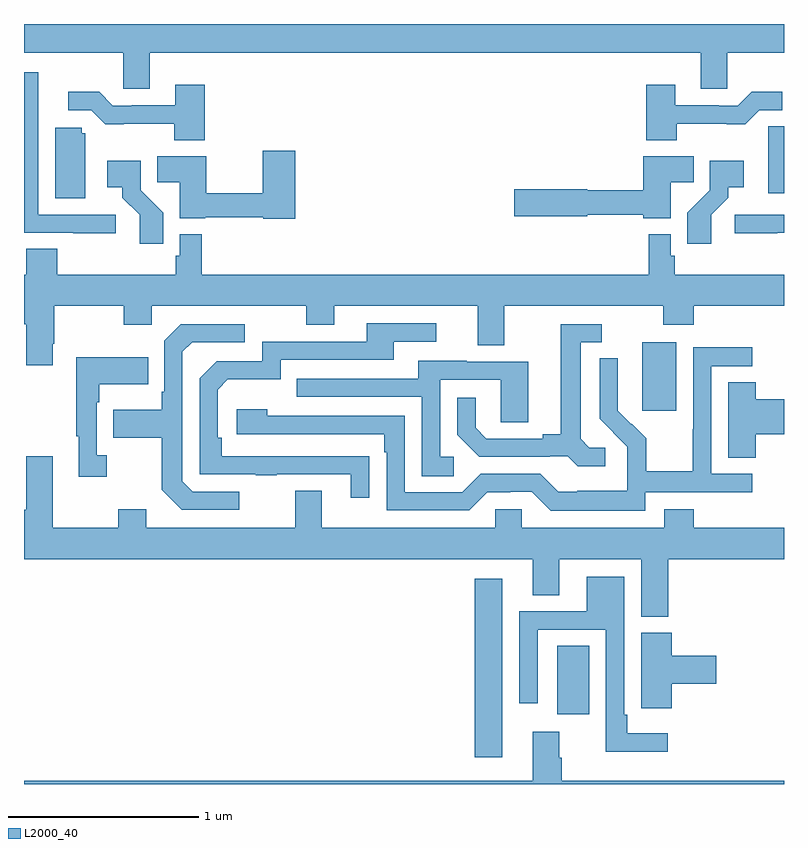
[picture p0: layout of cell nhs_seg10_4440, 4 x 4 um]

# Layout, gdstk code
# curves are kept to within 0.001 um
import gdstk
lib = gdstk.Library(unit=1e-6, precision=1e-09)
def R(c, l, rs):  # rectangles x0, y0, x1, y1
    for r in rs: c.add(gdstk.rectangle(r[:2], r[2:], *l))
def P(c, l, *ps):  # polygons
    for p in ps: c.add(gdstk.Polygon(p, *l))
L2000_40 = (2000, 40)

nhs_seg10_4440 = lib.new_cell('nhs_seg10_4440')
R(nhs_seg10_4440, L2000_40, [(365.372,1264.641,365.518,1265.581), (365.807,1264.866,365.974,1265.228), (366.254,1266.465,366.433,1266.826)])
P(nhs_seg10_4440, L2000_40, [(363.661,1268.348),(366.563,1268.348),(366.563,1268.158),(366.702,1268.158),(366.702,1268.348),(367,1268.348),(367,1268.5),(363,1268.5),(363,1268.348),(363.522,1268.348),(363.522,1268.158),(363.661,1268.158)],
  [(363.484,1267.497),(363.075,1267.497),(363.075,1268.022),(363.076,1268.022),(363.076,1268.245),(363,1268.245),(363,1267.401),(363.259,1267.401),(363.259,1267.399),(363.484,1267.399)],
  [(366.435,1267.974),(366.797,1267.973),(366.87,1268.046),(366.991,1268.046),(366.991,1268.143),(366.829,1268.143),(366.756,1268.07),(366.656,1268.07),(366.656,1268.073),(366.427,1268.073),(366.427,1268.179),(366.275,1268.179),(366.275,1267.889),(366.435,1267.889)],
  [(363.95,1268.179),(363.797,1268.179),(363.797,1268.073),(363.568,1268.073),(363.568,1268.07),(363.468,1268.07),(363.395,1268.143),(363.234,1268.143),(363.234,1268.046),(363.354,1268.046),(363.427,1267.973),(363.79,1267.974),(363.79,1267.889),(363.95,1267.889)],
  [(367,1267.961),(366.918,1267.961),(366.918,1267.85),(366.917,1267.85),(366.917,1267.608),(367,1267.608)],
  [(363.322,1267.926),(363.303,1267.926),(363.303,1267.953),(363.164,1267.953),(363.164,1267.582),(363.322,1267.582)],
  [(364.427,1267.834),(364.256,1267.834),(364.256,1267.61),(363.958,1267.61),(363.958,1267.804),(363.7,1267.804),(363.7,1267.666),(363.821,1267.666),(363.821,1267.478),(363.954,1267.478),(363.954,1267.482),(364.26,1267.482),(364.26,1267.474),(364.427,1267.474)],
  [(366.403,1267.666),(366.524,1267.666),(366.524,1267.804),(366.259,1267.804),(366.259,1267.625),(365.964,1267.625),(365.964,1267.631),(365.58,1267.631),(365.58,1267.489),(365.964,1267.489),(365.964,1267.497),(366.259,1267.497),(366.259,1267.478),(366.403,1267.478)],
  [(363.734,1267.506),(363.615,1267.625),(363.615,1267.78),(363.438,1267.78),(363.438,1267.64),(363.518,1267.64),(363.518,1267.585),(363.609,1267.495),(363.609,1267.344),(363.734,1267.344)],
  [(366.616,1267.495),(366.706,1267.585),(366.706,1267.64),(366.787,1267.64),(366.787,1267.78),(366.609,1267.78),(366.609,1267.625),(366.49,1267.506),(366.49,1267.344),(366.616,1267.344)],
  [(366.965,1267.401),(367,1267.401),(367,1267.497),(366.741,1267.497),(366.741,1267.399),(366.965,1267.399)],
  [(363.151,1266.817),(363.159,1266.817),(363.159,1267.016),(363.526,1267.016),(363.526,1266.917),(363.672,1266.917),(363.672,1267.016),(364.486,1267.016),(364.486,1266.917),(364.633,1266.917),(364.633,1267.016),(365.387,1267.016),(365.387,1266.808),(365.527,1266.808),(365.527,1267.016),(366.364,1267.016),(366.364,1266.917),(366.524,1266.917),(366.524,1267.016),(367,1267.016),(367,1267.18),(366.425,1267.18),(366.425,1267.281),(366.405,1267.281),(366.405,1267.393),(366.289,1267.393),(366.289,1267.18),(363.935,1267.18),(363.935,1267.393),(363.819,1267.393),(363.819,1267.281),(363.799,1267.281),(363.799,1267.18),(363.176,1267.18),(363.176,1267.316),(363.011,1267.316),(363.011,1267.18),(363,1267.18),(363,1266.92),(363.011,1266.92),(363.011,1266.705),(363.151,1266.705)],
  [(364.817,1266.224),(364.04,1266.225),(364.04,1266.322),(364.02,1266.322),(364.02,1266.576),(364.073,1266.629),(364.35,1266.629),(364.35,1266.732),(364.945,1266.732),(364.945,1266.828),(365.17,1266.828),(365.17,1266.924),(364.805,1266.924),(364.805,1266.828),(364.254,1266.828),(364.254,1266.726),(364.014,1266.726),(363.924,1266.636),(363.924,1266.129),(364.219,1266.129),(364.219,1266.124),(364.331,1266.124),(364.331,1266.129),(364.721,1266.129),(364.721,1266.006),(364.817,1266.006)],
  [(364.132,1266.039),(363.888,1266.039),(363.834,1266.093),(363.834,1266.774),(363.885,1266.825),(364.162,1266.825),(364.162,1266.921),(363.825,1266.921),(363.738,1266.834),(363.738,1266.565),(363.726,1266.565),(363.726,1266.469),(363.469,1266.469),(363.469,1266.322),(363.726,1266.322),(363.726,1266.049),(363.831,1265.943),(364.132,1265.943)],
  [(366.058,1266.27),(365.976,1266.27),(365.929,1266.317),(365.929,1266.825),(366.04,1266.825),(366.04,1266.921),(365.825,1266.921),(365.825,1266.341),(365.729,1266.341),(365.729,1266.318),(365.434,1266.318),(365.377,1266.375),(365.377,1266.532),(365.28,1266.532),(365.28,1266.338),(365.396,1266.222),(365.768,1266.222),(365.768,1266.225),(365.862,1266.225),(365.914,1266.173),(366.058,1266.173)],
  [(366.27,1266.036),(366.832,1266.036),(366.832,1266.132),(366.618,1266.132),(366.618,1266.699),(366.832,1266.699),(366.832,1266.798),(366.522,1266.798),(366.522,1266.368),(366.52,1266.368),(366.52,1266.145),(366.275,1266.145),(366.275,1266.319),(366.198,1266.396),(366.195,1266.393),(366.125,1266.464),(366.126,1266.74),(366.03,1266.74),(366.03,1266.422),(366.176,1266.274),(366.176,1266.177),(366.174,1266.177),(366.174,1266.043),(365.911,1266.043),(365.911,1266.039),(365.811,1266.039),(365.718,1266.132),(365.403,1266.132),(365.307,1266.036),(365.004,1266.036),(365.004,1266.438),(364.28,1266.438),(364.28,1266.472),(364.119,1266.472),(364.119,1266.342),(364.895,1266.342),(364.895,1266.245),(364.908,1266.245),(364.908,1265.94),(365.343,1265.94),(365.439,1266.036),(365.558,1266.036),(365.558,1266.039),(365.673,1266.039),(365.773,1265.939),(366.27,1265.939)],
  [(363.436,1266.23),(363.384,1266.23),(363.384,1266.509),(363.397,1266.509),(363.397,1266.605),(363.653,1266.605),(363.653,1266.745),(363.276,1266.745),(363.276,1266.329),(363.287,1266.329),(363.287,1266.117),(363.436,1266.117)],
  [(365.263,1266.222),(365.19,1266.222),(365.19,1266.627),(365.508,1266.627),(365.508,1266.403),(365.653,1266.403),(365.653,1266.723),(365.329,1266.723),(365.329,1266.727),(365.075,1266.727),(365.075,1266.633),(364.435,1266.633),(364.435,1266.537),(365.094,1266.537),(365.094,1266.121),(365.263,1266.121)],
  [(366.851,1266.341),(367,1266.341),(367,1266.524),(366.851,1266.524),(366.851,1266.614),(366.707,1266.614),(366.707,1266.217),(366.851,1266.217)],
  [(366.392,1265.684),(367,1265.684),(367,1265.848),(366.524,1265.848),(366.524,1265.947),(366.371,1265.947),(366.371,1265.848),(365.619,1265.848),(365.619,1265.946),(365.481,1265.946),(365.481,1265.848),(364.567,1265.848),(364.567,1266.043),(364.427,1266.043),(364.427,1265.848),(363.643,1265.848),(363.643,1265.947),(363.496,1265.947),(363.496,1265.848),(363.151,1265.848),(363.151,1266.226),(363.011,1266.226),(363.011,1265.944),(363,1265.944),(363,1265.684),(365.678,1265.684),(365.678,1265.494),(365.818,1265.494),(365.818,1265.684),(366.248,1265.684),(366.248,1265.38),(366.392,1265.38)],
  [(366.388,1264.768),(366.175,1264.768),(366.175,1264.864),(366.159,1264.864),(366.159,1265.59),(365.963,1265.59),(365.963,1265.409),(365.607,1265.409),(365.607,1264.926),(365.703,1264.926),(365.703,1265.313),(366.063,1265.313),(366.063,1264.67),(366.388,1264.67)],
  [(366.41,1265.027),(366.643,1265.027),(366.643,1265.174),(366.41,1265.174),(366.41,1265.295),(366.248,1265.295),(366.248,1265.011),(366.249,1265.011),(366.249,1264.899),(366.41,1264.899)],
  [(367,1264.516),(365.831,1264.516),(365.831,1264.637),(365.818,1264.637),(365.818,1264.774),(365.678,1264.774),(365.678,1264.516),(363,1264.516),(363,1264.5),(367,1264.5)])

lib.write_gds('nhs_seg10_4440.gds')
